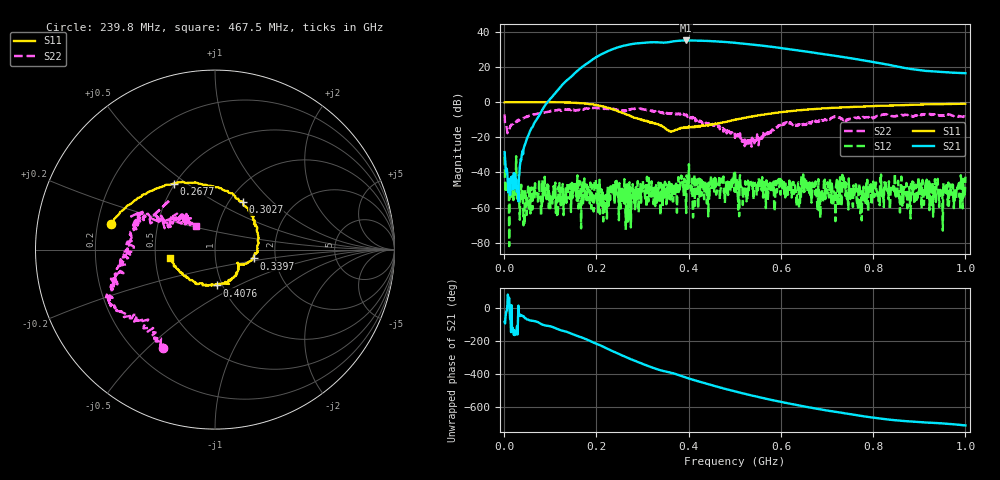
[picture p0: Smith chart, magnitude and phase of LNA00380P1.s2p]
! Created with skrf 1.9.0 (http://scikit-rf.org).
# Hz S RI R 50.0
!freq ReS11 ImS11 ReS21 ImS21 ReS12 ImS12 ReS22 ImS22
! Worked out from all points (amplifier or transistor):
!   1001 points, 1 MHz to 1 GHz, reference 50 ohm
!   highest |S21| = 35.1 dB at 394.6 MHz (marker M1)
!   |S21| within 3 dB of that: 259.9 MHz to 560.6 MHz (300.7 MHz wide, 73.3 % of centre)
!   unconditionally stable (mu >= 1): start of sweep to 75.56 MHz; 207.2 MHz to 309.7 MHz; 401.1 MHz to end of sweep (the widest 3 of 31)
!   at 166.8 MHz: K = 16.32, MAG = 30.5 dB, |S12| = -71.8 dB
!   at 500.5 MHz: K = 1.07, MAG = 34.9 dB, |S12| = -39.3 dB
!   at 1 GHz: K = 1.88, MAG = 24.0 dB, |S12| = -42.4 dB
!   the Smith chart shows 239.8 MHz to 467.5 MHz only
!   S11 on the Smith chart (normalised r, x): 239.8 MHz: 0.26, +0.11; 267.7 MHz: 0.49, +0.45; 302.7 MHz: 1.15, +0.68; 339.7 MHz: 1.54, -0.16; 407.6 MHz: 0.94, -0.39; 467.5 MHz: 0.60, -0.06
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1000000  0.9909 0.0149  0.00559 -0.0375  -0.0242 0.0146  0.3114 0.3221
1.08892e8  0.5044 -0.8567  -0.7799 -1.493  -0.000314 0.00416  0.4444 -0.3645
1.67833e8  -0.2648 -0.8928  -9.729 -0.6674  0.00223 -0.000459  0.0587 -0.6356
2.08792e8  -0.6913 -0.3685  -15.69 15.85  0.00139 0.00141  -0.186 -0.6562
2.39761e8  -0.5787 0.1443  -2.798 33.87  -0.00122 0.000235  -0.2896 -0.5471
2.67733e8  -0.2306 0.3675  21.18 36.84  -0.000355 0.000179  -0.4528 -0.3629
2.84716e8  -0.0161 0.3529  35.19 30.25  4.03e-05 -0.000857  -0.581 -0.3021
3.02698e8  0.1556 0.2667  45.67 17.04  -4.55e-05 0.00415  -0.5765 -0.2068
3.34666e8  0.2384 -0.0121  49.05 -10.07  -0.000815 0.00511  -0.4934 -0.0813
3.39661e8  0.216 -0.0492  47.83 -13.33  -0.0008 0.00495  -0.5031 -0.0425
3.69631e8  0.1327 -0.0885  43.53 -32.65  0.000337 0.00494  -0.4534 0.1085
3.94606e8  0.0756 -0.1701  28.41 -49.2  0.000564 0.000415  -0.3976 0.1639
4.07593e8  0.0102 -0.1996  17.98 -53.55  0.00323 0.00578  -0.3009 0.1538
4.36564e8  -0.1353 -0.1715  -5.308 -55.11  0.00184 0.00279  -0.1956 0.1723
4.67533e8  -0.2497 -0.0473  -25.77 -45.85  0.00172 7.92e-05  -0.1068 0.1315
5.005e8  -0.2892 0.1392  -39.45 -28.85  0.00656 0.00868  -0.068 0.0679
5.4046e8  -0.201 0.3444  -42.41 -7.093  -0.00169 3.85e-05  -0.0719 -0.0312
5.88412e8  0.0198 0.4948  -33.89 12.89  0.00197 -0.00536  -0.1495 -0.112
6.67333e8  0.3968 0.4885  -11.51 23.09  -0.00165 -0.000926  -0.2743 -0.0376
7.53247e8  0.6719 0.2807  3.945 17.1  -0.00363 -0.00122  -0.3266 0.0497
8.34166e8  0.7958 0.0211  8.021 8.229  -0.000173 -0.00563  -0.4 0.1377
1e9  0.7259 -0.5311  6.56 1.148  -0.00741 -0.00157  -0.0937 0.3666
